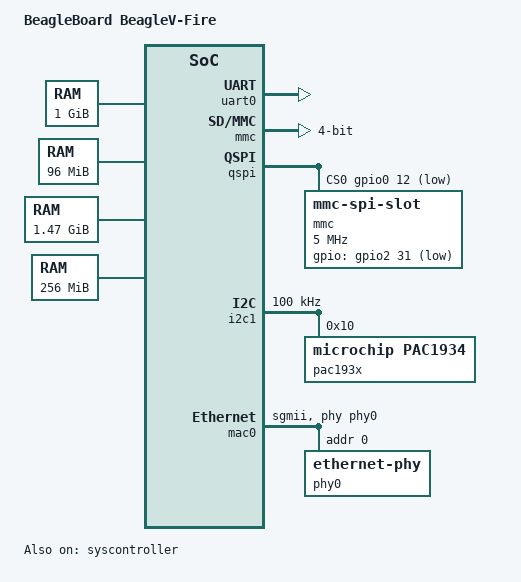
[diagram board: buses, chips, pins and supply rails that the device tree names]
// SPDX-License-Identifier: (GPL-2.0+ OR MIT)
/*
 * Copyright (C) 2023 Microchip Technology Inc.
 */

/dts-v1/;
#include <dt-bindings/gpio/gpio.h>
#include "microchip-mpfs.dtsi"

/* Clock frequency (in Hz) of the rtcclk */
#define RTCCLK_FREQ		1000000

/ {
	model = "BeagleBoard BeagleV-Fire";
	compatible = "beagleboard,beaglev-fire", "microchip,mpfs";

	aliases {
		serial0 = &uart0;
		ethernet0 = &mac0;
	};

	chosen {
		stdout-path = "serial0";
	};

	cpus {
		timebase-frequency = <RTCCLK_FREQ>;
	};

	ddr_cached_low: memory@80000000 {
		device_type = "memory";
		reg = <0x0 0x80000000 0x0 0x40000000>;
		label = "kernel";
	};

	ddr_non_cached_low: memory@c4000000 {
		device_type = "memory";
		reg = <0x0 0xc4000000 0x0 0x6000000>;
		label = "non-cached-low";
	};

	ddr_cached_high: memory@1022000000 {
		device_type = "memory";
		reg = <0x10 0x22000000 0x0 0x5e000000>;
		label = "cached-high";
	};

	ddr_non_cached_high: memory@1412000000 {
		device_type = "memory";
		reg = <0x14 0x12000000 0x0 0x10000000>;
		label = "non-cached-high";
	};

	reserved-memory {
		#address-cells = <2>;
		#size-cells = <2>;
		ranges;

		hss: hss-buffer {
			compatible = "shared-dma-pool";
			reg = <0x10 0x3fc00000 0x0 0x400000>;
			no-map;
		};

		dma_non_cached_low: non-cached-low-buffer {
			compatible = "shared-dma-pool";
			size = <0x0 0x4000000>;
			no-map;
			linux,dma-default;
			alloc-ranges = <0x0 0xc4000000 0x0 0x4000000>;
			dma-ranges = <0x0 0xc4000000 0x0 0xc4000000 0x0 0x4000000>;
		};

		dma_non_cached_high: non-cached-high-buffer {
			compatible = "shared-dma-pool";
			size = <0x0 0x10000000>;
			no-map;
			linux,dma-default;
			alloc-ranges = <0x14 0x12000000 0x0 0x10000000>;
			dma-ranges = <0x14 0x12000000 0x14 0x12000000 0x0 0x10000000>;
		};

		fabricbuf0ddrc: buffer@88000000 {
			compatible = "shared-dma-pool";
			reg = <0x0 0x88000000 0x0 0x2000000>;
			no-map;
		};

		fabricbuf1ddrnc: buffer@c8000000 {
			compatible = "shared-dma-pool";
			reg = <0x0 0xc8000000 0x0 0x2000000>;
			no-map;
		};

		fabricbuf2ddrncwcb: buffer@d8000000 {
			compatible = "shared-dma-pool";
			reg = <0x0 0xd8000000 0x0 0x2000000>;
			no-map;
		};

		non_cached: region@84000000 {
			reg = <0x0 0x84000000 0x0 0x4000000>;
			no-map;
		};
	};

	udmabuf0 {
		compatible = "ikwzm,u-dma-buf";
		device-name = "udmabuf-ddr-c0";
		minor-number = <0>;
		size = <0x0 0x2000000>;
		memory-region = <&fabricbuf0ddrc>;
		sync-mode = <3>;
	};

	udmabuf1 {
		compatible = "ikwzm,u-dma-buf";
		device-name = "udmabuf-ddr-nc0";
		minor-number = <1>;
		size = <0x0 0x2000000>;
		memory-region = <&fabricbuf1ddrnc>;
		sync-mode = <3>;
	};

	udmabuf2 {
		compatible = "ikwzm,u-dma-buf";
		device-name = "udmabuf-ddr-nc-wcb0";
		minor-number = <2>;
		size = <0x0 0x2000000>;
		memory-region = <&fabricbuf2ddrncwcb>;
		sync-mode = <3>;
	};
};

&refclk {
	clock-frequency = <125000000>;
};

&uart0 {
	status = "okay";
};

&mmc {
	status = "okay";

	bus-width = <4>;
	disable-wp;
	cap-mmc-highspeed;
	cap-sd-highspeed;
	card-detect-delay = <200>;
	mmc-ddr-1_8v;
	mmc-hs200-1_8v;
	sd-uhs-sdr12;
	sd-uhs-sdr25;
	sd-uhs-sdr50;
	sd-uhs-sdr104;
};

&qspi {
	status = "okay";
	cs-gpios = <&gpio0 12 GPIO_ACTIVE_LOW>;
	num-cs = <1>;

	mmc@0 {
		compatible = "mmc-spi-slot";
		reg = <0>;
		gpios = <&gpio2 31 1>;
		voltage-ranges = <3300 3300>;
		spi-max-frequency = <5000000>;
		disable-wp;
	};
};

&gpio0 {
	ngpios=<14>;
	gpio-line-names = "", "", "", "", "", "", "",
			  "", "", "", "", "", "SD_CARD_CS", "USER_BUTTON";
	status = "okay";
};

&gpio1 {
	ngpios=<24>;
	gpio-line-names = "", "", "", "", "", "", "", "", "", "",
			  "", "", "", "", "", "", "", "", "", "",
			  "ADC_IRQn", "", "", "USB_OCn";
	status = "okay";
};

&gpio2 {
	gpio-line-names = "P8_PIN3_USER_LED_0", "P8_PIN4_USER_LED_1", "P8_PIN5_USER_LED_2",
			  "P8_PIN6_USER_LED_3", "P8_PIN7_USER_LED_4", "P8_PIN8_USER_LED_5",
			  "P8_PIN9_USER_LED_6", "P8_PIN10_USER_LED_7", "P8_PIN11_USER_LED_8",
			  "P8_PIN12_USER_LED_9", "P8_PIN13_USER_LED_10", "P8_PIN14_USER_LED_11",
			  "P8_PIN15", "P8_PIN16", "P8_PIN17", "P8_PIN18", "P8_PIN19", "P8_PIN20",
			  "P8_PIN21", "P8_PIN22", "P8_PIN23", "P8_PIN24", "P8_PIN25", "P8_PIN26",
			  "P8_PIN27", "P8_PIN28", "P8_PIN29", "P8_PIN30", "M2_W_DISABLE1",
			  "M2_W_DISABLE2", "VIO_ENABLE", "SD_DET";
	status = "okay";
};

&i2c1 {
	status = "okay";
	clock-frequency = <100000>;

	pac193x: pac193x@10 {
		compatible = "microchip,pac1934";
		reg = <0x10>;
		samp-rate = <64>;
		status = "okay";
		ch1: channel0 {
			uohms-shunt-res = <10000>;
			rail-name = "VDDREG";
			channel_enabled;
		};
		ch2: channel1 {
			uohms-shunt-res = <10000>;
			rail-name = "VDDA25";
			channel_enabled;
		};
		ch3: channel2 {
			uohms-shunt-res = <10000>;
			rail-name = "VDD25";
			channel_enabled;
		};
		ch4: channel3 {
			uohms-shunt-res = <10000>;
			rail-name = "VDDA_REG";
			channel_enabled;
		};
	};
};

&mac0 {
	status = "okay";
	phy-mode = "sgmii";
	phy-handle = <&phy0>;
	phy0: ethernet-phy@0 {
		reg = <0>;
	};
};

&mbox {
	status = "okay";
};

&syscontroller {
	status = "okay";
};
